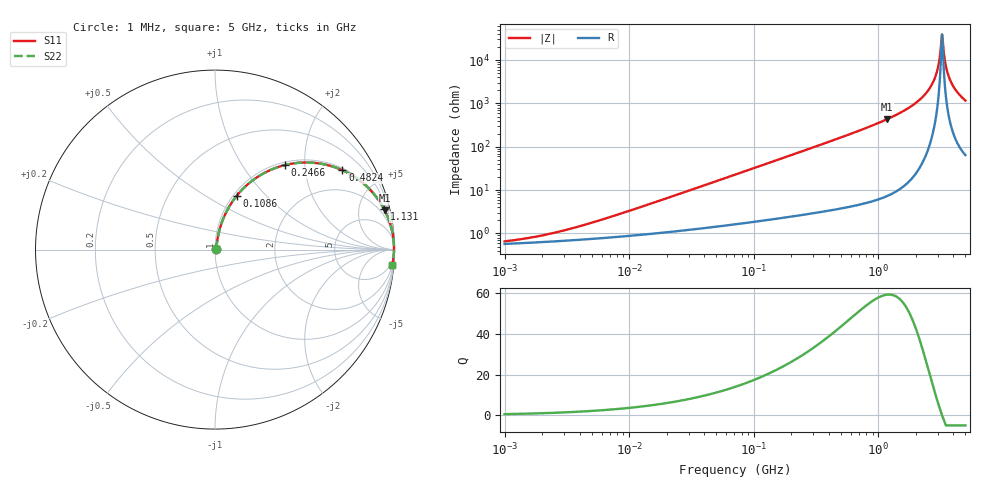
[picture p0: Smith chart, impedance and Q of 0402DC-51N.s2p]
# MHz  S  MA  R  50
!Freq  MagS11  AngS11  MagS21  AngS21  MagS12  AngS12  MagS22  AngS22
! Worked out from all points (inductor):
!   801 points, 1 MHz to 5 GHz, reference 50 ohm
!   read as one part in series: L = 51 nH near 7.732 MHz
!   highest Q = 59.3 at 1.168 GHz (marker M1), where L = 58.6 nH
!   self-resonance near 3.248 GHz
!   S11 on the Smith chart (normalised r, x): 1 MHz: 1.01, +0.01; 108.6 MHz: 1.04, +0.70; 246.6 MHz: 1.05, +1.59; 482.4 MHz: 1.07, +3.16; 1.131 GHz: 1.14, +8.25; 5 GHz: 2, -23
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1  0.006532 29.0  0.9943 -0.2  0.9943 -0.2  0.006532 29.0
4.168304  0.01507 60.9  0.9928 -0.8  0.9928 -0.8  0.01507 60.9
17.19065  0.05537 76.4  0.9884 -3.1  0.9884 -3.1  0.05537 76.4
70.89654  0.2188 73.3  0.9603 -12.6  0.9603 -12.6  0.2188 73.3
108.5644  0.3239 68.0  0.9285 -18.9  0.9285 -18.9  0.3239 68.0
246.5658  0.6124 50.3  0.7702 -37.7  0.7702 -37.7  0.6124 50.3
295.5183  0.6805 45.4  0.7123 -42.9  0.7123 -42.9  0.6805 45.4
482.3989  0.8364 31.9  0.529 -56.7  0.529 -56.7  0.8364 31.9
1131.179  0.9681 13.6  0.2347 -75.5  0.2347 -75.5  0.9681 13.6
1167.914  0.9704 13.0  0.2258 -76.0  0.2258 -76.0  0.9704 13.0
1218.757  0.9732 12.4  0.2141 -76.7  0.2141 -76.7  0.9732 12.4
1886.281  0.9917 6.2  0.1088 -82.5  0.1088 -82.5  0.9917 6.2
2488.267  0.9965 3.0  0.05174 -84.6  0.05174 -84.6  0.9965 3.0
2888.477  0.9974 1.3  0.02274 -82.9  0.02274 -82.9  0.9974 1.3
3014.221  0.9975 0.8  0.01462 -79.8  0.01462 -79.8  0.9975 0.8
3145.44  0.9975 0.4  0.006725 -68.1  0.006725 -68.1  0.9975 0.4
3247.589  0.9975 0.0  0.002547 -3.0  0.002547 -3.0  0.9975 0.0
3353.055  0.9974 -0.3  0.006537 66.0  0.006537 66.0  0.9974 -0.3
3574.375  0.997 -1.0  0.01846 80.2  0.01846 80.2  0.997 -1.0
3810.303  0.9965 -1.8  0.03071 82.5  0.03071 82.5  0.9965 -1.8
4284.022  0.9949 -3.1  0.05355 83.1  0.05355 83.1  0.9949 -3.1
5000  0.9918 -4.8  0.08467 82.0  0.08467 82.0  0.9918 -4.8
